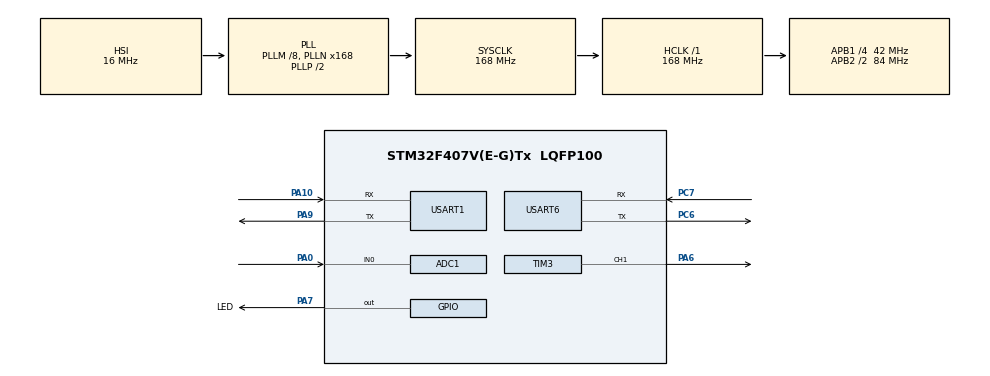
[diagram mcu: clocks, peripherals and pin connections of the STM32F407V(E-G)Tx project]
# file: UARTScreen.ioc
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ADC1.Channel-0\#ChannelRegularConversion=ADC_CHANNEL_0
ADC1.ContinuousConvMode=DISABLE
ADC1.DMAContinuousRequests=DISABLE
ADC1.DiscontinuousConvMode=DISABLE
ADC1.EOCSelection=ADC_EOC_SEQ_CONV
ADC1.InjNumberOfConversion=0
ADC1.NbrOfConversion=1
ADC1.NbrOfConversionFlag=1
ADC1.Rank-0\#ChannelRegularConversion=1
ADC1.SamplingTime-0\#ChannelRegularConversion=ADC_SAMPLETIME_480CYCLES
ADC1.master=1
Mcu.Family=STM32F4
Mcu.Name=STM32F407V(E-G)Tx
Mcu.Package=LQFP100
NVIC.ADC_IRQn=true\:0\:0\:false\:false\:true\:true\:true\:true
NVIC.PriorityGroup=NVIC_PRIORITYGROUP_4
NVIC.TIM3_IRQn=true\:0\:0\:false\:false\:true\:true\:true\:true
NVIC.TIM8_TRG_COM_TIM14_IRQn=true\:0\:0\:false\:false\:true\:true\:true\:true
NVIC.TIM8_UP_TIM13_IRQn=true\:1\:0\:true\:false\:true\:true\:true\:true
NVIC.USART1_IRQn=true\:0\:0\:false\:false\:true\:true\:true\:true
NVIC.USART6_IRQn=true\:0\:0\:false\:false\:true\:true\:true\:true
PA0-WKUP.Signal=ADCx_IN0
PA10.Mode=Asynchronous
PA10.Signal=USART1_RX
PA13.Mode=Serial_Wire
PA13.Signal=SYS_JTMS-SWDIO
PA14.Mode=Serial_Wire
PA14.Signal=SYS_JTCK-SWCLK
PA6.Signal=S_TIM3_CH1
PA7.GPIO_Label=LED
PA7.GPIO_ModeDefaultOutputPP=GPIO_MODE_OUTPUT_PP
PA7.GPIO_PuPd=GPIO_PULLUP
PA7.GPIO_Speed=GPIO_SPEED_FREQ_VERY_HIGH
PA7.Signal=GPIO_Output
PA9.Mode=Asynchronous
PA9.Signal=USART1_TX
PC6.Mode=Asynchronous
PC6.Signal=USART6_TX
PC7.Mode=Asynchronous
PC7.Signal=USART6_RX
PH0-OSC_IN.Mode=HSE-External-Oscillator
PH0-OSC_IN.Signal=RCC_OSC_IN
PH1-OSC_OUT.Mode=HSE-External-Oscillator
PH1-OSC_OUT.Signal=RCC_OSC_OUT
ProjectManager.HeapSize=0x200
ProjectManager.StackSize=0x400
ProjectManager.TargetToolchain=MDK-ARM V5.32
RCC.48MHZClocksFreq_Value=84000000
RCC.AHBFreq_Value=168000000
RCC.APB1CLKDivider=RCC_HCLK_DIV4
RCC.APB1Freq_Value=42000000
RCC.APB1TimFreq_Value=84000000
RCC.APB2CLKDivider=RCC_HCLK_DIV2
RCC.APB2Freq_Value=84000000
RCC.APB2TimFreq_Value=168000000
RCC.CortexFreq_Value=168000000
RCC.HCLKFreq_Value=168000000
RCC.HSE_VALUE=8000000
RCC.HSI_VALUE=16000000
RCC.LSE_VALUE=32768
RCC.PLLM=8
RCC.PLLN=168
RCC.RCC_RTC_Clock_Source_FROM_HSE=RCC_RTCCLKSOURCE_HSE_DIV31
RCC.SYSCLKFreq_VALUE=168000000
RCC.SYSCLKSource=RCC_SYSCLKSOURCE_PLLCLK
RCC.VCOOutputFreq_Value=336000000
RTC.Date=5
RTC.Format=RTC_FORMAT_BCD
RTC.Hours=0
RTC.Minutes=0
RTC.Month=RTC_MONTH_MAY
RTC.WeekDay=RTC_WEEKDAY_MONDAY
RTC.Year=5
SH.ADCx_IN0.0=ADC1_IN0,IN0
SH.S_TIM3_CH1.0=TIM3_CH1,PWM Generation1 CH1
TIM13.AutoReloadPreload=TIM_AUTORELOAD_PRELOAD_ENABLE
TIM13.Period=9999
TIM13.Prescaler=83
TIM14.AutoReloadPreload=TIM_AUTORELOAD_PRELOAD_ENABLE
TIM14.Period=99
TIM14.Prescaler=83
TIM3.AutoReloadPreload=TIM_AUTORELOAD_PRELOAD_ENABLE
TIM3.Channel-PWM\ Generation1\ CH1=TIM_CHANNEL_1
TIM3.CounterMode=TIM_COUNTERMODE_UP
TIM3.Period=9999
TIM3.Prescaler=83
USART1.VirtualMode=VM_ASYNC
USART6.VirtualMode=VM_ASYNC
VP_RTC_VS_RTC_Activate.Mode=RTC_Enabled
VP_RTC_VS_RTC_Calendar.Mode=RTC_Calendar
VP_TIM13_VS_ClockSourceINT.Mode=Enable_Timer
VP_TIM14_VS_ClockSourceINT.Mode=Enable_Timer
VP_TIM3_VS_ClockSourceINT.Mode=Internal
board=custom

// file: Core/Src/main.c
/* USER CODE BEGIN Header */

/* USER CODE END Header */
#include "main.h"
#include "adc.h"
#include "rtc.h"
#include "tim.h"
#include "usart.h"
#include "gpio.h"

/* USER CODE BEGIN Includes */
#include "delay.h"
#include "uartscreen.h"
#include "touch.h"
#include "fire.h"
/* USER CODE END Includes */

/* USER CODE BEGIN PV */
extern uint16_t adc_value;
extern uint8_t buzzer_threshold;
/* USER CODE END PV */

void SystemClock_Config(void);

/* USER CODE BEGIN 0 */
//基本的两个初始化函数
void bsp_Init(void);
void app_Init(void);
/* USER CODE END 0 */

int main(void)
{

  /* MCU Configuration--------------------------------------------------------*/

  /* Reset of all peripherals, Initializes the Flash interface and the Systick. */
  HAL_Init();

  /* Configure the system clock */
  SystemClock_Config();

  /* Initialize all configured peripherals */
  MX_GPIO_Init();
  MX_USART1_UART_Init();
  MX_TIM13_Init();
  MX_USART6_UART_Init();
  MX_ADC1_Init();
  MX_RTC_Init();
  MX_TIM3_Init();
  MX_TIM14_Init();
  /* USER CODE BEGIN 2 */
	bsp_Init();
	app_Init();
  /* USER CODE END 2 */

  /* Infinite loop */
  while (1)
  {

    /* USER CODE BEGIN 3 */
		//延时时间，单位ms,可以修改
    HAL_Delay_ms(100);
		//200次获取ADC值并取平均值
    adc_value = Get_Adc_Average(200);
		//通过串口1打印到电脑上
    debug_fire_value();
		//串口屏火焰操作
    fireScreenFunction();
  }
  /* USER CODE END 3 */
}

void SystemClock_Config(void)
{
  RCC_OscInitTypeDef RCC_OscInitStruct = {0};
  RCC_ClkInitTypeDef RCC_ClkInitStruct = {0};

  /** Configure the main internal regulator output voltage
  */
  __HAL_RCC_PWR_CLK_ENABLE();
  __HAL_PWR_VOLTAGESCALING_CONFIG(PWR_REGULATOR_VOLTAGE_SCALE1);

  /** Initializes the RCC Oscillators according to the specified parameters
  * in the RCC_OscInitTypeDef structure.
  */
  RCC_OscInitStruct.OscillatorType = RCC_OSCILLATORTYPE_HSI|RCC_OSCILLATORTYPE_LSI;
  RCC_OscInitStruct.HSIState = RCC_HSI_ON;
  RCC_OscInitStruct.HSICalibrationValue = RCC_HSICALIBRATION_DEFAULT;
  RCC_OscInitStruct.LSIState = RCC_LSI_ON;
  RCC_OscInitStruct.PLL.PLLState = RCC_PLL_ON;
  RCC_OscInitStruct.PLL.PLLSource = RCC_PLLSOURCE_HSI;
  RCC_OscInitStruct.PLL.PLLM = 8;
  RCC_OscInitStruct.PLL.PLLN = 168;
  RCC_OscInitStruct.PLL.PLLP = RCC_PLLP_DIV2;
  RCC_OscInitStruct.PLL.PLLQ = 4;
  if (HAL_RCC_OscConfig(&RCC_OscInitStruct) != HAL_OK)
  {
    Error_Handler();
  }

  /** Initializes the CPU, AHB and APB buses clocks
  */
  RCC_ClkInitStruct.ClockType = RCC_CLOCKTYPE_HCLK|RCC_CLOCKTYPE_SYSCLK
                              |RCC_CLOCKTYPE_PCLK1|RCC_CLOCKTYPE_PCLK2;
  RCC_ClkInitStruct.SYSCLKSource = RCC_SYSCLKSOURCE_PLLCLK;
  RCC_ClkInitStruct.AHBCLKDivider = RCC_SYSCLK_DIV1;
  RCC_ClkInitStruct.APB1CLKDivider = RCC_HCLK_DIV4;
  RCC_ClkInitStruct.APB2CLKDivider = RCC_HCLK_DIV2;

  if (HAL_RCC_ClockConfig(&RCC_ClkInitStruct, FLASH_LATENCY_5) != HAL_OK)
  {
    Error_Handler();
  }
}

/* USER CODE BEGIN 4 */
/**
 * @brief外设初始化
 */
void bsp_Init(void)
{
  HAL_Delay_us_init(168);
  HAL_Delay_ms(200); //小晴晴
  initTouch();
}
/**
 * @brief 应用初始化
 */
void app_Init(void)
{
  HAL_TIM_Base_Start_IT(&htim13);
  HAL_TIM_Base_Start_IT(&htim14);
  fire_Init();
}
/**
 * @brief 控制触摸屏按键
 */
void handoutScreenValue(void)
{
    static uint16_t screenKeyValue = 0x0000;
    screenKeyValue = getScreenValue();
    //输入你想要进行的操作
    if(screenKeyValue!=0x0000)
    {
      switch(screenKeyValue)
      {
        case 0x0001:
					if(buzzer_threshold < 10)
						buzzer_threshold++;
          break;
        case 0x0002:
					if(buzzer_threshold > 0)
						buzzer_threshold--;
          break;
        case 0x0003:

          break;
        default:

          break;
      }
    }
}

/**
 * @brief 定时器13中断回调函数->每次计数10ms
 * @param htim
 */
void HAL_TIM_PeriodElapsedCallback(TIM_HandleTypeDef *htim)
{
  if(htim->Instance == TIM13)
  {
    //获取触摸屏键值
    handoutScreenValue();
  }
  else if(htim->Instance == TIM14) //鬼知道多久一次
  {

  }
	else if(htim->Instance == TIM3)
	{
		HAL_GPIO_TogglePin(LED_GPIO_Port,LED_Pin);
	}
}
/* USER CODE END 4 */

void Error_Handler(void)
{
  __disable_irq();
  while (1)
  {
  }
}
